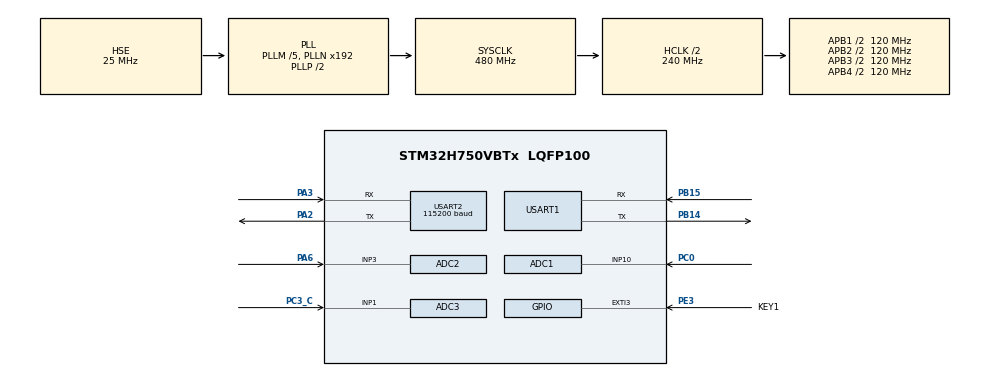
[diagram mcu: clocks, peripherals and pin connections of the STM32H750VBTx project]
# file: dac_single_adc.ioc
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ADC1.Channel-0\#ChannelRegularConversion=ADC_CHANNEL_10
ADC1.ConversionDataManagement=ADC_CONVERSIONDATA_DMA_CIRCULAR
ADC1.ExternalTrigConv=ADC_EXTERNALTRIG_T15_TRGO
ADC1.NbrOfConversionFlag=1
ADC1.OffsetNumber-0\#ChannelRegularConversion=ADC_OFFSET_NONE
ADC1.OffsetSignedSaturation-0\#ChannelRegularConversion=DISABLE
ADC1.Rank-0\#ChannelRegularConversion=1
ADC1.SamplingTime-0\#ChannelRegularConversion=ADC_SAMPLETIME_1CYCLE_5
ADC1.master=1
ADC2.Channel-0\#ChannelRegularConversion=ADC_CHANNEL_3
ADC2.ConversionDataManagement=ADC_CONVERSIONDATA_DMA_CIRCULAR
ADC2.ExternalTrigConv=ADC_EXTERNALTRIG_T4_TRGO
ADC2.ExternalTrigConvEdge=ADC_EXTERNALTRIGCONVEDGE_RISING
ADC2.NbrOfConversionFlag=1
ADC2.OffsetNumber-0\#ChannelRegularConversion=ADC_OFFSET_NONE
ADC2.OffsetSignedSaturation-0\#ChannelRegularConversion=DISABLE
ADC2.Rank-0\#ChannelRegularConversion=1
ADC2.SamplingTime-0\#ChannelRegularConversion=ADC_SAMPLETIME_1CYCLE_5
ADC3.Channel-0\#ChannelRegularConversion=ADC_CHANNEL_1
ADC3.ConversionDataManagement=ADC_CONVERSIONDATA_DMA_CIRCULAR
ADC3.ExternalTrigConv=ADC_EXTERNALTRIG_T1_TRGO
ADC3.ExternalTrigConvEdge=ADC_EXTERNALTRIGCONVEDGE_RISING
ADC3.NbrOfConversionFlag=1
ADC3.OffsetNumber-0\#ChannelRegularConversion=ADC_OFFSET_NONE
ADC3.OffsetSignedSaturation-0\#ChannelRegularConversion=DISABLE
ADC3.Rank-0\#ChannelRegularConversion=1
ADC3.SamplingTime-0\#ChannelRegularConversion=ADC_SAMPLETIME_1CYCLE_5
CORTEX_M7.AccessPermission-Cortex_Memory_Protection_Unit_Region0_Settings=MPU_REGION_FULL_ACCESS
CORTEX_M7.AccessPermission-Cortex_Memory_Protection_Unit_Region1_Settings=MPU_REGION_FULL_ACCESS
CORTEX_M7.AccessPermission-Cortex_Memory_Protection_Unit_Region2_Settings=MPU_REGION_FULL_ACCESS
CORTEX_M7.AccessPermission-Cortex_Memory_Protection_Unit_Region3_Settings=MPU_REGION_FULL_ACCESS
CORTEX_M7.AccessPermission-Cortex_Memory_Protection_Unit_Region4_Settings=MPU_REGION_FULL_ACCESS
CORTEX_M7.BaseAddress-Cortex_Memory_Protection_Unit_Region0_Settings=0x24000000
CORTEX_M7.BaseAddress-Cortex_Memory_Protection_Unit_Region1_Settings=0x30000000
CORTEX_M7.BaseAddress-Cortex_Memory_Protection_Unit_Region2_Settings=0x30020000
CORTEX_M7.BaseAddress-Cortex_Memory_Protection_Unit_Region3_Settings=0x30040000
CORTEX_M7.BaseAddress-Cortex_Memory_Protection_Unit_Region4_Settings=0x38000000
CORTEX_M7.CPU_DCache=Enabled
CORTEX_M7.CPU_ICache=Enabled
CORTEX_M7.Enable-Cortex_Memory_Protection_Unit_Region0_Settings=MPU_REGION_ENABLE
CORTEX_M7.Enable-Cortex_Memory_Protection_Unit_Region1_Settings=MPU_REGION_ENABLE
CORTEX_M7.Enable-Cortex_Memory_Protection_Unit_Region2_Settings=MPU_REGION_ENABLE
CORTEX_M7.Enable-Cortex_Memory_Protection_Unit_Region3_Settings=MPU_REGION_ENABLE
CORTEX_M7.Enable-Cortex_Memory_Protection_Unit_Region4_Settings=MPU_REGION_ENABLE
CORTEX_M7.IsBufferable-Cortex_Memory_Protection_Unit_Region0_Settings=MPU_ACCESS_BUFFERABLE
CORTEX_M7.IsCacheable-Cortex_Memory_Protection_Unit_Region0_Settings=MPU_ACCESS_CACHEABLE
CORTEX_M7.MPU_Control=MPU_PRIVILEGED_DEFAULT
CORTEX_M7.Size-Cortex_Memory_Protection_Unit_Region0_Settings=MPU_REGION_SIZE_512KB
CORTEX_M7.Size-Cortex_Memory_Protection_Unit_Region1_Settings=MPU_REGION_SIZE_128KB
CORTEX_M7.Size-Cortex_Memory_Protection_Unit_Region2_Settings=MPU_REGION_SIZE_128KB
CORTEX_M7.Size-Cortex_Memory_Protection_Unit_Region3_Settings=MPU_REGION_SIZE_32KB
CORTEX_M7.Size-Cortex_Memory_Protection_Unit_Region4_Settings=MPU_REGION_SIZE_64KB
CORTEX_M7.TypeExtField-Cortex_Memory_Protection_Unit_Region0_Settings=MPU_TEX_LEVEL1
CORTEX_M7.TypeExtField-Cortex_Memory_Protection_Unit_Region1_Settings=MPU_TEX_LEVEL1
CORTEX_M7.TypeExtField-Cortex_Memory_Protection_Unit_Region2_Settings=MPU_TEX_LEVEL1
CORTEX_M7.TypeExtField-Cortex_Memory_Protection_Unit_Region3_Settings=MPU_TEX_LEVEL1
CORTEX_M7.TypeExtField-Cortex_Memory_Protection_Unit_Region4_Settings=MPU_TEX_LEVEL1
Dma.ADC1.0.Direction=DMA_PERIPH_TO_MEMORY
Dma.ADC1.0.EventEnable=DISABLE
Dma.ADC1.0.FIFOMode=DMA_FIFOMODE_DISABLE
Dma.ADC1.0.Instance=DMA1_Stream0
Dma.ADC1.0.MemDataAlignment=DMA_MDATAALIGN_HALFWORD
Dma.ADC1.0.MemInc=DMA_MINC_ENABLE
Dma.ADC1.0.Mode=DMA_NORMAL
Dma.ADC1.0.PeriphDataAlignment=DMA_PDATAALIGN_HALFWORD
Dma.ADC1.0.PeriphInc=DMA_PINC_DISABLE
Dma.ADC1.0.Polarity=HAL_DMAMUX_REQ_GEN_RISING
Dma.ADC1.0.Priority=DMA_PRIORITY_LOW
Dma.ADC1.0.RequestNumber=1
Dma.ADC1.0.SignalID=NONE
Dma.ADC1.0.SyncEnable=DISABLE
Dma.ADC1.0.SyncPolarity=HAL_DMAMUX_SYNC_NO_EVENT
Dma.ADC1.0.SyncRequestNumber=1
Dma.ADC1.0.SyncSignalID=NONE
Dma.ADC2.1.Direction=DMA_PERIPH_TO_MEMORY
Dma.ADC2.1.EventEnable=DISABLE
Dma.ADC2.1.FIFOMode=DMA_FIFOMODE_DISABLE
Dma.ADC2.1.Instance=DMA1_Stream1
Dma.ADC2.1.MemDataAlignment=DMA_MDATAALIGN_HALFWORD
Dma.ADC2.1.MemInc=DMA_MINC_ENABLE
Dma.ADC2.1.Mode=DMA_NORMAL
Dma.ADC2.1.PeriphDataAlignment=DMA_PDATAALIGN_HALFWORD
Dma.ADC2.1.PeriphInc=DMA_PINC_DISABLE
Dma.ADC2.1.Polarity=HAL_DMAMUX_REQ_GEN_RISING
Dma.ADC2.1.Priority=DMA_PRIORITY_LOW
Dma.ADC2.1.RequestNumber=1
Dma.ADC2.1.SignalID=NONE
Dma.ADC2.1.SyncEnable=DISABLE
Dma.ADC2.1.SyncPolarity=HAL_DMAMUX_SYNC_NO_EVENT
Dma.ADC2.1.SyncRequestNumber=1
Dma.ADC2.1.SyncSignalID=NONE
Dma.ADC3.2.Direction=DMA_PERIPH_TO_MEMORY
Dma.ADC3.2.EventEnable=DISABLE
Dma.ADC3.2.FIFOMode=DMA_FIFOMODE_DISABLE
Dma.ADC3.2.Instance=DMA1_Stream2
Dma.ADC3.2.MemDataAlignment=DMA_MDATAALIGN_HALFWORD
Dma.ADC3.2.MemInc=DMA_MINC_ENABLE
Dma.ADC3.2.Mode=DMA_NORMAL
Dma.ADC3.2.PeriphDataAlignment=DMA_PDATAALIGN_HALFWORD
Dma.ADC3.2.PeriphInc=DMA_PINC_DISABLE
Dma.ADC3.2.Polarity=HAL_DMAMUX_REQ_GEN_RISING
Dma.ADC3.2.Priority=DMA_PRIORITY_LOW
Dma.ADC3.2.RequestNumber=1
Dma.ADC3.2.SignalID=NONE
Dma.ADC3.2.SyncEnable=DISABLE
Dma.ADC3.2.SyncPolarity=HAL_DMAMUX_SYNC_NO_EVENT
Dma.ADC3.2.SyncRequestNumber=1
Dma.ADC3.2.SyncSignalID=NONE
Dma.Request0=ADC1
Dma.Request1=ADC2
Dma.Request2=ADC3
Mcu.Family=STM32H7
Mcu.Name=STM32H750VBTx
Mcu.Package=LQFP100
NVIC.DMA1_Stream0_IRQn=true\:0\:0\:false\:false\:true\:false\:true\:true
NVIC.DMA1_Stream1_IRQn=true\:0\:0\:false\:false\:true\:false\:true\:true
NVIC.DMA1_Stream2_IRQn=true\:0\:0\:false\:false\:true\:false\:true\:true
NVIC.EXTI3_IRQn=true\:0\:0\:false\:false\:true\:true\:true\:true
NVIC.PriorityGroup=NVIC_PRIORITYGROUP_4
NVIC.USART1_IRQn=true\:0\:0\:false\:false\:true\:true\:true\:true
PA13\ (JTMS/SWDIO).Mode=Serial_Wire
PA13\ (JTMS/SWDIO).Signal=DEBUG_JTMS-SWDIO
PA14\ (JTCK/SWCLK).Mode=Serial_Wire
PA14\ (JTCK/SWCLK).Signal=DEBUG_JTCK-SWCLK
PA2.Mode=Asynchronous
PA2.Signal=USART2_TX
PA3.Mode=Asynchronous
PA3.Signal=USART2_RX
PA6.Signal=ADCx_INP3
PB14.Mode=Asynchronous
PB14.Signal=USART1_TX
PB15.Mode=Asynchronous
PB15.Signal=USART1_RX
PC0.Signal=ADCx_INP10
PC3_C.Mode=IN1-Single-Ended
PC3_C.Signal=ADC3_INP1
PE3.GPIO_Label=KEY1
PE3.GPIO_ModeDefaultEXTI=GPIO_MODE_IT_FALLING
PE3.GPIO_PuPd=GPIO_PULLUP
PE3.Signal=GPXTI3
PH0-OSC_IN\ (PH0).Mode=HSE-External-Oscillator
PH0-OSC_IN\ (PH0).Signal=RCC_OSC_IN
PH1-OSC_OUT\ (PH1).Mode=HSE-External-Oscillator
PH1-OSC_OUT\ (PH1).Signal=RCC_OSC_OUT
ProjectManager.HeapSize=0x200
ProjectManager.StackSize=0x7400
ProjectManager.TargetToolchain=MDK-ARM V5.32
RCC.ADCFreq_Value=72000000
RCC.APB1Freq_Value=120000000
RCC.APB2Freq_Value=120000000
RCC.APB3Freq_Value=120000000
RCC.APB4Freq_Value=120000000
RCC.CortexFreq_Value=480000000
RCC.D1PPRE=RCC_APB3_DIV2
RCC.D2PPRE1=RCC_APB1_DIV2
RCC.D2PPRE2=RCC_APB2_DIV2
RCC.D3PPRE=RCC_APB4_DIV2
RCC.DIVM1=5
RCC.DIVM2=25
RCC.DIVN1=192
RCC.DIVN2=360
RCC.DIVP2=5
RCC.HCLKFreq_Value=240000000
RCC.HPRE=RCC_HCLK_DIV2
RCC.PLLSourceVirtual=RCC_PLLSOURCE_HSE
RCC.ProductRev=revV
RCC.SYSCLKFreq_VALUE=480000000
RCC.SYSCLKSource=RCC_SYSCLKSOURCE_PLLCLK
RCC.USBFreq_Value=480000000
SH.ADCx_INP10.0=ADC1_INP10,IN10-Single-Ended
SH.ADCx_INP3.0=ADC2_INP3,IN3-Single-Ended
TIM1.Period=80-1
TIM1.Prescaler=1-1
TIM1.TIM_MasterOutputTrigger=TIM_TRGO_UPDATE
TIM15.Period=80-1
TIM15.Prescaler=1-1
TIM15.TIM_MasterOutputTrigger=TIM_TRGO_UPDATE
TIM4.Period=80-1
TIM4.Prescaler=1-1
TIM4.TIM_MasterOutputTrigger=TIM_TRGO_UPDATE
TIM7.Prescaler=239
USART1.VirtualMode-Asynchronous=VM_ASYNC
USART2.BaudRate=115200
USART2.VirtualMode-Asynchronous=VM_ASYNC
VP_TIM15_VS_ClockSourceINT.Mode=Internal
VP_TIM1_VS_ClockSourceINT.Mode=Internal
VP_TIM4_VS_ClockSourceINT.Mode=Internal
VP_TIM7_VS_ClockSourceINT.Mode=Enable_Timer
board=custom

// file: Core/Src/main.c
/* USER CODE BEGIN Header */
/**
  ******************************************************************************
  * @file           : main.c
  * @brief          : Main program body
  ******************************************************************************
  * @attention
  *
  * Copyright (c) 2023 STMicroelectronics.
  * All rights reserved.
  *
  * This software is licensed under terms that can be found in the LICENSE file
  * in the root directory of this software component.
  * If no LICENSE file comes with this software, it is provided AS-IS.
  *
  ******************************************************************************
  */
/* USER CODE END Header */
#include "main.h"
#include "adc.h"
#include "dma.h"
#include "tim.h"
#include "usart.h"
#include "gpio.h"

/* USER CODE BEGIN PTD */
ALIGN_32BYTES (uint16_t adc1_data[FFT_LENGTH]) 	__attribute__((section(".ARM.__at_0x30000000")));
__IO uint8_t Adc1_ConvEnd = 0;//表示adc1采集完成
__IO uint8_t Adc2_ConvEnd = 0;//表示adc2采集完成
__IO uint8_t Adc3_ConvEnd = 0;//表示adc3采集完成

unsigned char buffer[50];
uint8_t RX_dat = 0;

uint8_t KEY_state=0;
uint8_t	Fs_Flag=0;

/* USER CODE END PTD */

void SystemClock_Config(void);
void PeriphCommonClock_Config(void);
static void MPU_Initialize(void);
static void MPU_Config(void);
/* USER CODE BEGIN PFP */

void adc1_init(void);
void adc2_init(void);
void adc3_init(void);
void FFT_and_DIS(void);

/* USER CODE END PFP */

int main(void)
{

  /* Enable I-Cache---------------------------------------------------------*/
  SCB_EnableICache();

  /* Enable D-Cache---------------------------------------------------------*/
  SCB_EnableDCache();

  /* MCU Configuration--------------------------------------------------------*/

  /* Reset of all peripherals, Initializes the Flash interface and the Systick. */
  HAL_Init();

  /* MPU Configuration--------------------------------------------------------*/
  MPU_Config();

  /* Configure the system clock */
  SystemClock_Config();

/* Configure the peripherals common clocks */
  PeriphCommonClock_Config();

  /* Initialize all configured peripherals */
  MX_GPIO_Init();
  MX_DMA_Init();
  MX_ADC1_Init();
  MX_TIM7_Init();
  MX_TIM15_Init();
  MX_USART1_UART_Init();
  MX_ADC2_Init();
  MX_ADC3_Init();
  MX_USART2_UART_Init();
  MX_TIM1_Init();
  MX_TIM4_Init();
  /* USER CODE BEGIN 2 */
	printf("start\n");

	HAL_UART_Receive_IT(&huart2,&RX_dat,1);//寮?鍚帴鏀朵腑鏂?

  /* USER CODE END 2 */

  /* Infinite loop */
  while (1)
  {

    /* USER CODE BEGIN 3 */
		if(KEY_state==1)
		{
			KEY_state=0;
			Fs_Flag=0;
			adc1_init();

			float vi_max,vi_min = 1.65;
			float voltage = 0;
//			//求峰峰值
//			for (u16 temp = 10 ;temp < FFT_LENGTH-10 ;temp++)
//			{
//				voltage = adc1_data[temp]*3.3/65535;
//				if(voltage>vi_max)
//				{
//					vi_max = voltage;
//				}
//				if(voltage<vi_min)
//				{
//					vi_min = voltage;
//				}
//			}
//				float	vi_pp = vi_max - vi_min;
//				printf("vi_max = %f\n",vi_max);
//				printf("vi_min = %f\n",vi_min);
			for (u16 temp = 0 ;temp < FFT_LENGTH ;temp++)
			{
				voltage = adc1_data[temp]*3.3/65535;
				printf("%f\r\n",voltage);
		//		printf("%d\r\n",adc1_data[temp]);
//			}
		}
  }
  /* USER CODE END 3 */
}
}
void SystemClock_Config(void)
{
  RCC_OscInitTypeDef RCC_OscInitStruct = {0};
  RCC_ClkInitTypeDef RCC_ClkInitStruct = {0};

  /** Supply configuration update enable
  */
  HAL_PWREx_ConfigSupply(PWR_LDO_SUPPLY);

  /** Configure the main internal regulator output voltage
  */
  __HAL_PWR_VOLTAGESCALING_CONFIG(PWR_REGULATOR_VOLTAGE_SCALE1);

  while(!__HAL_PWR_GET_FLAG(PWR_FLAG_VOSRDY)) {}

  __HAL_RCC_SYSCFG_CLK_ENABLE();
  __HAL_PWR_VOLTAGESCALING_CONFIG(PWR_REGULATOR_VOLTAGE_SCALE0);

  while(!__HAL_PWR_GET_FLAG(PWR_FLAG_VOSRDY)) {}

  /** Initializes the RCC Oscillators according to the specified parameters
  * in the RCC_OscInitTypeDef structure.
  */
  RCC_OscInitStruct.OscillatorType = RCC_OSCILLATORTYPE_HSE;
  RCC_OscInitStruct.HSEState = RCC_HSE_ON;
  RCC_OscInitStruct.PLL.PLLState = RCC_PLL_ON;
  RCC_OscInitStruct.PLL.PLLSource = RCC_PLLSOURCE_HSE;
  RCC_OscInitStruct.PLL.PLLM = 5;
  RCC_OscInitStruct.PLL.PLLN = 192;
  RCC_OscInitStruct.PLL.PLLP = 2;
  RCC_OscInitStruct.PLL.PLLQ = 2;
  RCC_OscInitStruct.PLL.PLLR = 2;
  RCC_OscInitStruct.PLL.PLLRGE = RCC_PLL1VCIRANGE_2;
  RCC_OscInitStruct.PLL.PLLVCOSEL = RCC_PLL1VCOWIDE;
  RCC_OscInitStruct.PLL.PLLFRACN = 0;
  if (HAL_RCC_OscConfig(&RCC_OscInitStruct) != HAL_OK)
  {
    Error_Handler();
  }

  /** Initializes the CPU, AHB and APB buses clocks
  */
  RCC_ClkInitStruct.ClockType = RCC_CLOCKTYPE_HCLK|RCC_CLOCKTYPE_SYSCLK
                              |RCC_CLOCKTYPE_PCLK1|RCC_CLOCKTYPE_PCLK2
                              |RCC_CLOCKTYPE_D3PCLK1|RCC_CLOCKTYPE_D1PCLK1;
  RCC_ClkInitStruct.SYSCLKSource = RCC_SYSCLKSOURCE_PLLCLK;
  RCC_ClkInitStruct.SYSCLKDivider = RCC_SYSCLK_DIV1;
  RCC_ClkInitStruct.AHBCLKDivider = RCC_HCLK_DIV2;
  RCC_ClkInitStruct.APB3CLKDivider = RCC_APB3_DIV2;
  RCC_ClkInitStruct.APB1CLKDivider = RCC_APB1_DIV2;
  RCC_ClkInitStruct.APB2CLKDivider = RCC_APB2_DIV2;
  RCC_ClkInitStruct.APB4CLKDivider = RCC_APB4_DIV2;

  if (HAL_RCC_ClockConfig(&RCC_ClkInitStruct, FLASH_LATENCY_4) != HAL_OK)
  {
    Error_Handler();
  }
}

void PeriphCommonClock_Config(void)
{
  RCC_PeriphCLKInitTypeDef PeriphClkInitStruct = {0};

  /** Initializes the peripherals clock
  */
  PeriphClkInitStruct.PeriphClockSelection = RCC_PERIPHCLK_ADC;
  PeriphClkInitStruct.PLL2.PLL2M = 25;
  PeriphClkInitStruct.PLL2.PLL2N = 360;
  PeriphClkInitStruct.PLL2.PLL2P = 5;
  PeriphClkInitStruct.PLL2.PLL2Q = 2;
  PeriphClkInitStruct.PLL2.PLL2R = 2;
  PeriphClkInitStruct.PLL2.PLL2RGE = RCC_PLL2VCIRANGE_0;
  PeriphClkInitStruct.PLL2.PLL2VCOSEL = RCC_PLL2VCOWIDE;
  PeriphClkInitStruct.PLL2.PLL2FRACN = 0;
  PeriphClkInitStruct.AdcClockSelection = RCC_ADCCLKSOURCE_PLL2;
  if (HAL_RCCEx_PeriphCLKConfig(&PeriphClkInitStruct) != HAL_OK)
  {
    Error_Handler();
  }
}

/* USER CODE BEGIN 4 */
	//ADC
void HAL_ADC_ConvCpltCallback(ADC_HandleTypeDef* hadc)
{
   if(hadc->Instance == ADC1)
	{
      //SCB_InvalidateDCache_by_Addr((uint32_t *) &adc1_data[0], ADC1_BUFFER_SIZE);
		Adc1_ConvEnd = 1;
  }

   if(hadc->Instance == ADC2)
	{
      //SCB_InvalidateDCache_by_Addr((uint32_t *) &adc1_data[0], ADC1_BUFFER_SIZE);
		Adc2_ConvEnd = 1;
  }

   if(hadc->Instance == ADC3)
	{
      //SCB_InvalidateDCache_by_Addr((uint32_t *) &adc1_data[0], ADC1_BUFFER_SIZE);
		Adc3_ConvEnd = 1;
  }

}

	//IO
void HAL_GPIO_EXTI_Callback(uint16_t GPIO_Pin)
{
	if(GPIO_Pin == KEY1_Pin)
	{
		KEY_state=1;
	}
}

	//adc校准及启动采样
void adc1_init(void)
{
	printf("start_adc1\n");
	MX_ADC1_Init();	//初始化调用放这里, 确保在MX_DMA_Init()初始化后靿
//	TIM15->PSC =5-1;
	HAL_Delay(100);	//有地方说这里可以等等电压稳定后再校准
	if (HAL_ADCEx_Calibration_Start(&hadc1, ADC_CALIB_OFFSET, ADC_SINGLE_ENDED) != HAL_OK)
	{
			printf("hadc1 error with HAL_ADCEx_Calibration_Start\r\n");
			Error_Handler();
	}

	if (HAL_ADC_Start_DMA(&hadc1, (uint32_t *)adc1_data, FFT_LENGTH) != HAL_OK)
	{
			printf("hadc1 error with HAL_ADC_Start_DMA\r\n");
			Error_Handler();
	}

	HAL_TIM_Base_Start(&htim15);
	while (!Adc1_ConvEnd);
	Adc1_ConvEnd = 0;
	HAL_ADC_DeInit(&hadc1);			//逆初始化
	HAL_TIM_Base_Stop(&htim15);
}

void adc2_init(void)
{
	printf("start_adc2\n");
	MX_ADC2_Init();	//初始化调用放这里, 确保在MX_DMA_Init()初始化后靿
//	TIM4->PSC =5-1;
	HAL_Delay(100);	//有地方说这里可以等等电压稳定后再校准
	if (HAL_ADCEx_Calibration_Start(&hadc2, ADC_CALIB_OFFSET, ADC_SINGLE_ENDED) != HAL_OK)
	{
			printf("hadc2 error with HAL_ADCEx_Calibration_Start\r\n");
			Error_Handler();
	}

	if (HAL_ADC_Start_DMA(&hadc2, (uint32_t *)adc1_data, FFT_LENGTH) != HAL_OK)
	{
			printf("hadc2 error with HAL_ADC_Start_DMA\r\n");
			Error_Handler();
	}

	HAL_TIM_Base_Start(&htim4);
	while (!Adc2_ConvEnd);
	Adc2_ConvEnd = 0;
	HAL_ADC_DeInit(&hadc2);			//逆初始化
	HAL_TIM_Base_Stop(&htim4);
}

void adc3_init(void)
{
	printf("start_adc3\n");
	MX_ADC3_Init();	//初始化调用放这里, 确保在MX_DMA_Init()初始化后靿
//	TIM1->PSC =80-1;
	HAL_Delay(100);	//有地方说这里可以等等电压稳定后再校准
	if (HAL_ADCEx_Calibration_Start(&hadc3, ADC_CALIB_OFFSET, ADC_SINGLE_ENDED) != HAL_OK)
	{
			printf("hadc3 error with HAL_ADCEx_Calibration_Start\r\n");
			Error_Handler();
	}

	if (HAL_ADC_Start_DMA(&hadc3, (uint32_t *)adc1_data, FFT_LENGTH) != HAL_OK)
	{
			printf("hadc3 error with HAL_ADC_Start_DMA\r\n");
			Error_Handler();
	}

	HAL_TIM_Base_Start(&htim1);
	while (!Adc3_ConvEnd);
	Adc3_ConvEnd = 0;
	HAL_ADC_DeInit(&hadc3);			//逆初始化
	HAL_TIM_Base_Stop(&htim1);
}

	//串口中断接收
void HAL_UART_RxCpltCallback(UART_HandleTypeDef *huart)
{
	if(huart->Instance == USART2)
	 {
			if(RX_dat == 1)
			{
//			HAL_UART_Transmit(&huart2,&RX_dat,1,100);
				KEY_state = 1;
				HAL_UART_Receive_IT(&huart2,&RX_dat,1);
			}
	}
}

	//adc按档完成采样，对最终adc1_data进行FFT
	//显示结果
void	FFT_and_DIS(void)
{
		FFT_Init();
		FFT_DIS();
		uint16_t	Point_period  =(uint16_t)(Fs/f[0]);
		u32 voltage_ = 0;
		u32 voltage_1 = 0;
		if(Point_period>200)
  	{
			TIM15->PSC =(int)(15000/f[0])-1;
			adc1_init();
			printf("cle s0.id,0\xff\xff\xff");
		for (uint16_t i = 0 ;i <= 200 ;i++)
		{
			voltage_ = adc1_data[i]*200/65536;
			printf("add s0.id,0,%d\xff\xff\xff",voltage_);
//			printf("%d\r\n",voltage_);
			startValuePack(buffer);
			putFloat(temp/100);//THD
			putFloat(adc1_data[i]);//wave
			putFloat(U[0]);//V1
			putFloat(U[1]);
			putFloat(U[2]);
			putFloat(U[3]);
			putFloat(U[4]);//V5
			sendBuffer(buffer,endValuePack());
		}
		TIM15->PSC=0;
		}
		else if(Point_period>=100&&Point_period<=200){
		printf("cle s0.id,0\xff\xff\xff");
		for (uint16_t i = 0 ;i <= Point_period ;i++)
		{
			voltage_ = adc1_data[i]*200/65536;
			printf("add s0.id,0,%d\xff\xff\xff",voltage_);
//		printf("%d\r\n",voltage_);
			startValuePack(buffer);
			putFloat(temp/100);//THD
			putFloat(adc1_data[i]);//wave
			putFloat(U[0]);//V1
			putFloat(U[1]);
			putFloat(U[2]);
			putFloat(U[3]);
			putFloat(U[4]);//V5
			sendBuffer(buffer,endValuePack());
		}
	}
		else if(Point_period>=50&&Point_period<=100)
		{
//			u16 point=200/Point_period;;
			printf("cle s0.id,0\xff\xff\xff");
		for (uint16_t i = 0 ;i <= Point_period ;i++)
		{
			voltage_ = adc1_data[i]*200/65536;
			voltage_1 = adc1_data[i+1]*200/65536;
			printf("add s0.id,0,%d\xff\xff\xff",voltage_);
			printf("add s0.id,0,%d\xff\xff\xff",(voltage_+voltage_1)/2);

//			printf("%d\r\n",voltage_);
//			printf("%d\r\n",(voltage_+voltage_1)/2);
			startValuePack(buffer);
			putFloat(temp/100);//THD
			putFloat(adc1_data[i]);//wave
			putFloat(U[0]);//V1
			putFloat(U[1]);
			putFloat(U[2]);
			putFloat(U[3]);
			putFloat(U[4]);//V5
			sendBuffer(buffer,endValuePack());
		}
		}
		else
		{
			printf("cle s0.id,0\xff\xff\xff");
		for (uint16_t i = 1 ;i <= Point_period ;i++)
		{
			voltage_ = adc1_data[i]*200/65536;
			voltage_1 = adc1_data[i+1]*200/65536;
			printf("add s0.id,0,%d\xff\xff\xff",voltage_);
			printf("add s0.id,0,%d\xff\xff\xff",(voltage_+voltage_1)/2);
			printf("add s0.id,0,%d\xff\xff\xff",(voltage_+3*voltage_1)/4);

//			printf("%d\r\n",voltage_);
//			printf("%d\r\n",(voltage_+voltage_1)/2);
//			printf("%d\r\n",(voltage_+3*voltage_1)/4);

			startValuePack(buffer);
			putFloat(temp/100);//THD
			putFloat(adc1_data[i]);//wave
			putFloat(U[0]);//V1
			putFloat(U[1]);
			putFloat(U[2]);
			putFloat(U[3]);
			putFloat(U[4]);//V5
			sendBuffer(buffer,endValuePack());
		}
		}
}

/* USER CODE END 4 */

/* MPU Configuration */

void MPU_Config(void)
{
  MPU_Region_InitTypeDef MPU_InitStruct = {0};

  /* Disables the MPU */
  HAL_MPU_Disable();

  /** Initializes and configures the Region and the memory to be protected
  */
  MPU_InitStruct.Enable = MPU_REGION_ENABLE;
  MPU_InitStruct.Number = MPU_REGION_NUMBER0;
  MPU_InitStruct.BaseAddress = 0x24000000;
  MPU_InitStruct.Size = MPU_REGION_SIZE_512KB;
  MPU_InitStruct.SubRegionDisable = 0x0;
  MPU_InitStruct.TypeExtField = MPU_TEX_LEVEL1;
  MPU_InitStruct.AccessPermission = MPU_REGION_FULL_ACCESS;
  MPU_InitStruct.DisableExec = MPU_INSTRUCTION_ACCESS_ENABLE;
  MPU_InitStruct.IsShareable = MPU_ACCESS_NOT_SHAREABLE;
  MPU_InitStruct.IsCacheable = MPU_ACCESS_CACHEABLE;
  MPU_InitStruct.IsBufferable = MPU_ACCESS_BUFFERABLE;

  HAL_MPU_ConfigRegion(&MPU_InitStruct);

  /** Initializes and configures the Region and the memory to be protected
  */
  MPU_InitStruct.Number = MPU_REGION_NUMBER1;
  MPU_InitStruct.BaseAddress = 0x30000000;
  MPU_InitStruct.Size = MPU_REGION_SIZE_128KB;
  MPU_InitStruct.IsCacheable = MPU_ACCESS_NOT_CACHEABLE;
  MPU_InitStruct.IsBufferable = MPU_ACCESS_NOT_BUFFERABLE;

  HAL_MPU_ConfigRegion(&MPU_InitStruct);

  /** Initializes and configures the Region and the memory to be protected
  */
  MPU_InitStruct.Number = MPU_REGION_NUMBER2;
  MPU_InitStruct.BaseAddress = 0x30020000;

  HAL_MPU_ConfigRegion(&MPU_InitStruct);

  /** Initializes and configures the Region and the memory to be protected
  */
  MPU_InitStruct.Number = MPU_REGION_NUMBER3;
  MPU_InitStruct.BaseAddress = 0x30040000;
  MPU_InitStruct.Size = MPU_REGION_SIZE_32KB;

  HAL_MPU_ConfigRegion(&MPU_InitStruct);

  /** Initializes and configures the Region and the memory to be protected
  */
  MPU_InitStruct.Number = MPU_REGION_NUMBER4;
  MPU_InitStruct.BaseAddress = 0x38000000;
  MPU_InitStruct.Size = MPU_REGION_SIZE_64KB;

  HAL_MPU_ConfigRegion(&MPU_InitStruct);
  /* Enables the MPU */
  HAL_MPU_Enable(MPU_PRIVILEGED_DEFAULT);

}

void Error_Handler(void)
{
  __disable_irq();
  while (1)
  {
  }
}
